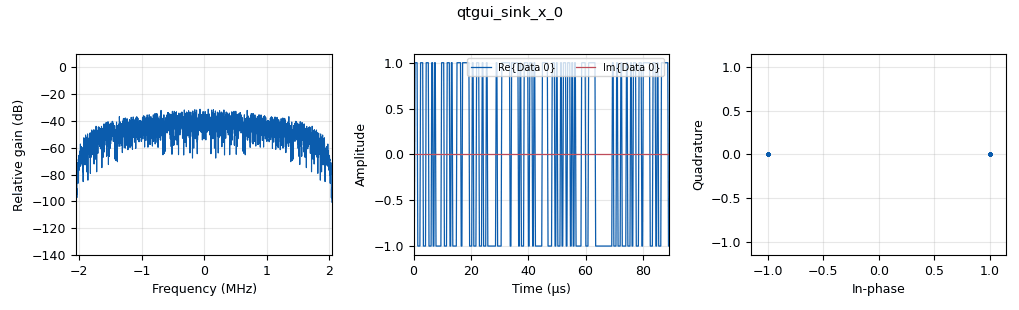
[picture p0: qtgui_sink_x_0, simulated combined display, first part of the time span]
options:
  parameters:
    author: syml
    generate_options: qt_gui
    id: bpsk_tx_demo
    output_language: python
    title: BPSK_TX
  states: {}

blocks:
- name: bpsk
  id: variable_constellation
  parameters:
    precision: '8'
    type: bpsk
  states: {}
- name: rx_gain
  id: variable_qtgui_range
  parameters:
    label: RX Gain
    start: '0'
    step: '0.01'
    stop: '1'
    value: '0.7'
  states: {}
- name: samp_rate
  id: variable
  parameters:
    value: 4.092e6
  states: {}
- name: tx_gain
  id: variable_qtgui_range
  parameters:
    label: TX Gain
    start: '0'
    step: '0.01'
    stop: '1'
    value: '0.8'
  states: {}
- name: blocks_add_const_vxx_0
  id: blocks_add_const_vxx
  parameters:
    const: ord("0")
    type: byte
  states: {state: disabled}
- name: blocks_file_sink_0
  id: blocks_file_sink
  parameters:
    file: /home/syml/Temp/1.txt
    type: byte
  states: {state: disabled}
- name: blocks_file_sink_1
  id: blocks_file_sink
  parameters:
    file: /home/syml/Temp/1.bin
    type: complex
  states: {state: disabled}
- name: blocks_keep_one_in_n_0
  id: blocks_keep_one_in_n
  parameters:
    n: '2'
    type: byte
  states: {state: disabled}
- name: blocks_repack_bits_bb_0
  id: blocks_repack_bits_bb
  parameters:
    endianness: gr.GR_LSB_FIRST
    k: '4'
    l: '1'
  states: {}
- name: blocks_repack_bits_bb_0_0
  id: blocks_repack_bits_bb
  parameters:
    endianness: gr.GR_LSB_FIRST
    k: '3'
    l: '1'
  states: {}
- name: blocks_repack_bits_bb_1
  id: blocks_repack_bits_bb
  parameters:
    endianness: gr.GR_LSB_FIRST
    k: '1'
    l: '3'
  states: {state: disabled}
- name: blocks_repeat_0
  id: blocks_repeat
  parameters:
    interp: int(samp_rate) // 20
    type: byte
  states: {}
- name: blocks_repeat_0_0
  id: blocks_repeat
  parameters:
    interp: int(samp_rate) // 1000
    type: byte
  states: {}
- name: blocks_repeat_0_0_0
  id: blocks_repeat
  parameters:
    interp: int(samp_rate) // 2046000
    type: byte
  states: {}
- name: blocks_throttle_0
  id: blocks_throttle
  parameters:
    samples_per_second: samp_rate
    type: complex
  states: {state: disabled}
- name: blocks_vector_source_x_0
  id: blocks_vector_source_x
  parameters:
    repeat: 'True'
    type: byte
    vector: (0,0,0,0,0,1,0,0,1,1,0,1,0,1,0,0,1,1,1,0)
  states: {}
- name: blocks_vector_source_x_1
  id: blocks_vector_source_x
  parameters:
    comment: sat 12
    repeat: 'True'
    type: byte
    vector: vecsrc.hex2vec("e24046d288d22ff9eff7fa4000154400196d5f9c6afb5faa0c590050400fb2a839a66b0c80e24086da8c927fecc1571300cf23a8884be27c0b987e111109c81550f75881e81869a12b0e240c6e6ddc63eba4ed914eabe21ffaa8a4c5501401d2dba486774f52d17cada063e1e4c0e24106ca88837ebecdcd8e5ff55ffdf8fd619e2810091aaecac8440521a183284e2d41a0a86e24146f688837ebecdcd8e5ff55ffdf8fd619e2810091aaecac8440521a183284e2d41a0a86")
  states: {}
- name: blocks_vector_source_x_2
  id: blocks_vector_source_x
  parameters:
    comment: PRN Ranging Code
    repeat: 'True'
    type: byte
    vector: vecsrc.oct2vec("2453262336254172473670350343052662633043130521546244116743007370645236722016774202554671002153045021211626332041007503114172334714336235472041422002450372543607756632745116244443460047646571640675667750626752703632060316721110432761426746473125175736556530545007450667641340066113653063257613520421334755606336105134431714361730554610306407537541416207635463606565725774266377400251327155407336605224504703223611673024151552523537441554740310554204417767407675710563174077547340315112666474114643335754121730004155456374051203426313713373056431260422670552325120732540226660016030044272154667355513641506450767441110247373176206345466214367000011122366745471553472045152552424463514")
  states: {}
- name: blocks_vector_source_x_3
  id: blocks_vector_source_x
  parameters:
    repeat: 'True'
    type: byte
    vector: (0, )
  states: {state: disabled}
- name: blocks_xor_xx_1
  id: blocks_xor_xx
  parameters:
    num_inputs: '3'
    type: byte
  states: {}
- name: digital_constellation_decoder_cb_0
  id: digital_constellation_decoder_cb
  parameters:
    constellation: bpsk
  states: {state: disabled}
- name: digital_constellation_encoder_bc_0
  id: digital_constellation_encoder_bc
  parameters:
    constellation: bpsk
  states: {}
- name: digital_costas_loop_cc_0
  id: digital_costas_loop_cc
  parameters:
    order: '2'
    w: '0.628'
  states: {state: disabled}
- name: qtgui_sink_x_0
  id: qtgui_sink_x
  parameters:
    bw: samp_rate
    fc: '0'
    fftsize: '4096'
    type: complex
  states: {}
- name: qtgui_sink_x_0_0
  id: qtgui_sink_x
  parameters:
    bw: samp_rate
    fc: '0'
    fftsize: '4096'
    type: complex
  states: {state: disabled}
- name: uhd_usrp_sink_0
  id: uhd_usrp_sink
  parameters:
    ant0: '"TX/RX"'
    center_freq0: 1561.098e6
    clock_source0: internal
    dev_args: type=soapy
    gain0: tx_gain
    gain_type0: normalized
    samp_rate: samp_rate
    sync: none
    type: fc32
  states: {}
- name: uhd_usrp_source_0
  id: uhd_usrp_source
  parameters:
    ant0: '"TX/RX"'
    center_freq0: 1561.098e6
    dev_args: type=b200
    gain0: rx_gain
    gain_type0: normalized
    rx_agc0: Disabled
    samp_rate: samp_rate
    sync: pc_clock
    type: fc32
  states: {state: disabled}
- name: vecsrc
  id: epy_module
  parameters:
    source_code: |
      # this module will be imported in the into your flowgraph
      import numpy as np


      def hex2vec(data: str):
          v = []
          for i in data:
              v.append(int(i, 16))
          return v

      def oct2vec(data: str):
          v = []
          for i in data:
              v.append(int(i, 8))
          return v
  states: {}

connections:
- [blocks_add_const_vxx_0, '0', blocks_file_sink_0, '0']
- [blocks_keep_one_in_n_0, '0', blocks_repack_bits_bb_1, '0']
- [blocks_repack_bits_bb_0, '0', blocks_repeat_0, '0']
- [blocks_repack_bits_bb_0_0, '0', blocks_repeat_0_0_0, '0']
- [blocks_repack_bits_bb_1, '0', blocks_add_const_vxx_0, '0']
- [blocks_repeat_0, '0', blocks_xor_xx_1, '0']
- [blocks_repeat_0_0, '0', blocks_xor_xx_1, '1']
- [blocks_repeat_0_0_0, '0', blocks_xor_xx_1, '2']
- [blocks_throttle_0, '0', blocks_file_sink_1, '0']
- [blocks_vector_source_x_0, '0', blocks_repeat_0_0, '0']
- [blocks_vector_source_x_1, '0', blocks_repack_bits_bb_0, '0']
- [blocks_vector_source_x_2, '0', blocks_repack_bits_bb_0_0, '0']
- [blocks_vector_source_x_3, '0', blocks_xor_xx_1, '0']
- [blocks_vector_source_x_3, '0', blocks_xor_xx_1, '1']
- [blocks_xor_xx_1, '0', digital_constellation_encoder_bc_0, '0']
- [digital_constellation_decoder_cb_0, '0', blocks_keep_one_in_n_0, '0']
- [digital_constellation_encoder_bc_0, '0', blocks_throttle_0, '0']
- [digital_constellation_encoder_bc_0, '0', qtgui_sink_x_0, '0']
- [digital_constellation_encoder_bc_0, '0', uhd_usrp_sink_0, '0']
- [digital_costas_loop_cc_0, '0', digital_constellation_decoder_cb_0, '0']
- [digital_costas_loop_cc_0, '0', qtgui_sink_x_0_0, '0']
- [uhd_usrp_source_0, '0', digital_costas_loop_cc_0, '0']

metadata:
  file_format: 1
  grc_version: 3.10.5.0
